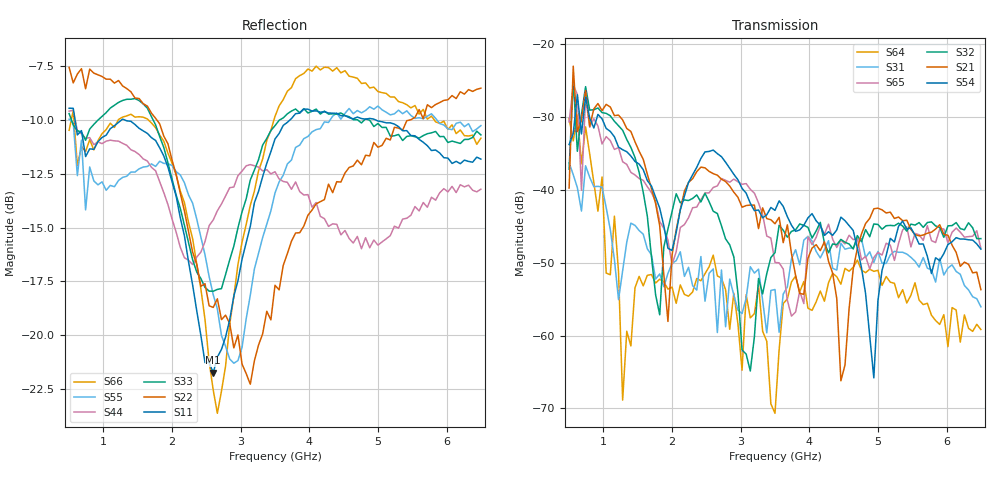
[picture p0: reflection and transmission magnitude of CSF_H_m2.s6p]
!Keysight Technologies,M9804A,MY58100912,A.14.10.03
!Date: Thursday, April 27, 2023 10:28:33
!Correction: S11(C  6-Port  )
!S12(C  6-Port  )
!S13(C  6-Port  )
!S14(C  6-Port  )
!S15(C  6-Port  )
!S16(C  6-Port  )
!S21(C  6-Port  )
!S22(C  6-Port  )
!S23(C  6-Port  )
!S24(C  6-Port  )
!S25(C  6-Port  )
!S26(C  6-Port  )
!S31(C  6-Port  )
!S32(C  6-Port  )
!S33(C  6-Port  )
!S34(C  6-Port  )
!S35(C  6-Port  )
!S36(C  6-Port  )
!S41(C  6-Port  )
!S42(C  6-Port  )
!S43(C  6-Port  )
!S44(C  6-Port  )
!S45(C  6-Port  )
!S46(C  6-Port  )
!S51(C  6-Port  )
!S52(C  6-Port  )
!S53(C  6-Port  )
!S54(C  6-Port  )
!S55(C  6-Port  )
!S56(C  6-Port  )
!S61(C  6-Port  )
!S62(C  6-Port  )
!S63(C  6-Port  )
!S64(C  6-Port  )
!S65(C  6-Port  )
!S66(C  6-Port  )
!S6P File: Measurement: :
# Hz S  RI  R 50
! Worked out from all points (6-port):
!   101 points, 500 MHz to 6.5 GHz, reference 50 ohm
!   strongest paths, dB at 500 MHz, 2 GHz, 3.5 GHz, 5 GHz, 6.5 GHz:
!     S54: -33.8, -48.3, -42.8, -55.2, -48.1
!     S21: -39.8, -49.0, -44.7, -42.5, -53.7
!     S32: -37.1, -43.0, -48.6, -44.8, -46.7
!     S65: -30.7, -50.2, -50.0, -48.6, -48.0
!     S31: -36.3, -50.1, -53.7, -48.5, -56.0
!     S64: -30.2, -53.3, -70.7, -51.0, -59.2
!   lowest |S11| = -21.7 dB at 2.6 GHz (marker M1), VSWR 1.18, Z = 42.7 + j2 ohm
!   |S11| at or under -10 dB: 586.2 MHz to 1.265 GHz (678.8 MHz wide, 73.3 % of centre); 1.308 GHz to 3.719 GHz (2.41 GHz wide, 95.9 % of centre); 4.965 GHz to end of sweep
